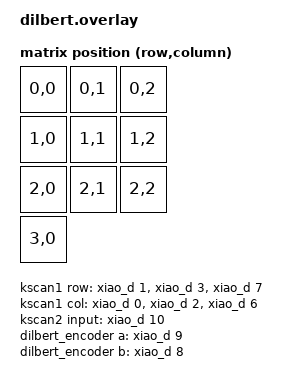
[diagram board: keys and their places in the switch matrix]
#include <dt-bindings/zmk/matrix_transform.h>

/{
  chosen {
    zmk,kscan = &kscan0;  
    zmk,matrix_transform = &default_transform;
    zephyr,display = &oled;  
  };

  kscan0: kscan_composite {
        compatible = "zmk,kscan-composite";
        label = "KSCAN0";
        rows = <4>;
        columns = <3>;

        // Include the matrix driver
        matrix {
            kscan = <&kscan1>;
        };

        // Include the direct GPIO driver...
        direct {
            kscan = <&kscan2>;
            row-offset = <3>; // ...and shift it to not overlap
        };
  };

  kscan1: kscan_matrix {
    compatible = "zmk,kscan-gpio-matrix";
    label = "KSCAN";
    diode-direction = "col2row";
    row-gpios =
      <&xiao_d 1 (GPIO_ACTIVE_HIGH | GPIO_PULL_DOWN)>,
      <&xiao_d 3 (GPIO_ACTIVE_HIGH | GPIO_PULL_DOWN)>,
      <&xiao_d 7 (GPIO_ACTIVE_HIGH | GPIO_PULL_DOWN)>;
    col-gpios =
      <&xiao_d 0 GPIO_ACTIVE_HIGH >,
      <&xiao_d 2 GPIO_ACTIVE_HIGH >,
      <&xiao_d 6 GPIO_ACTIVE_HIGH >;
  };

  kscan2: kscan_direct {
		compatible = "zmk,kscan-gpio-direct";

		label = "SW";

		input-gpios
			= <&xiao_d 10 (GPIO_PULL_UP | GPIO_ACTIVE_LOW)>
			;
	};

  default_transform: matrix_transform {
        compatible = "zmk,matrix-transform";
        rows = <4>;
        columns = <3>;
        // 
        // ├───┼───┼───┼
        // │ 1 │ 2 │ 3 │
        // ├───┼───┼───┤
        // │ 4 │ 5 │ 6 │
        // ├───┼───┼───┼
        // │ 7 │ 8 │ 9 │
        // ├───┴───┼───┤ 
        // │ SW    │ 
        // └───────┴
        map = <
            RC(0,0) RC(0,1) RC(0,2) 
            RC(1,0) RC(1,1) RC(1,2) 
            RC(2,0) RC(2,1) RC(2,2)
            RC(3,0)             
        >;
  };

  dilbert_encoder: dilbert_encoder {
        compatible = "alps,ec11";
        label = "DILBERT Endoder";
        a-gpios = <&xiao_d 9 (GPIO_ACTIVE_HIGH | GPIO_PULL_UP)>;
        b-gpios = <&xiao_d 8 (GPIO_ACTIVE_HIGH | GPIO_PULL_UP)>;
        resolution = <4>;
        status = "disabled";
  };

  sensors {
      compatible = "zmk,keymap-sensors";
      sensors = <&dilbert_encoder>;
  };


  &dilbert_encoder {
    status = "okay";
  };

  &i2c0 {
    status = "okay";
    clock-frequency = <I2C_BITRATE_STANDARD>;

    oled: ssd1306@3c {
      compatible = "solomon,ssd1306fb";
      reg = <0x3c>;
      label = "DISPLAY";
      width = <0x80>;
      height = <0x20>;
      segment-offset = <0x0>;
      page-offset = <0x0>;
      display-offset = <0x0>;
      multiplex-ratio = <0x1f>;
      com-sequential;
      prechargep = <0x22>;
  };

};


 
